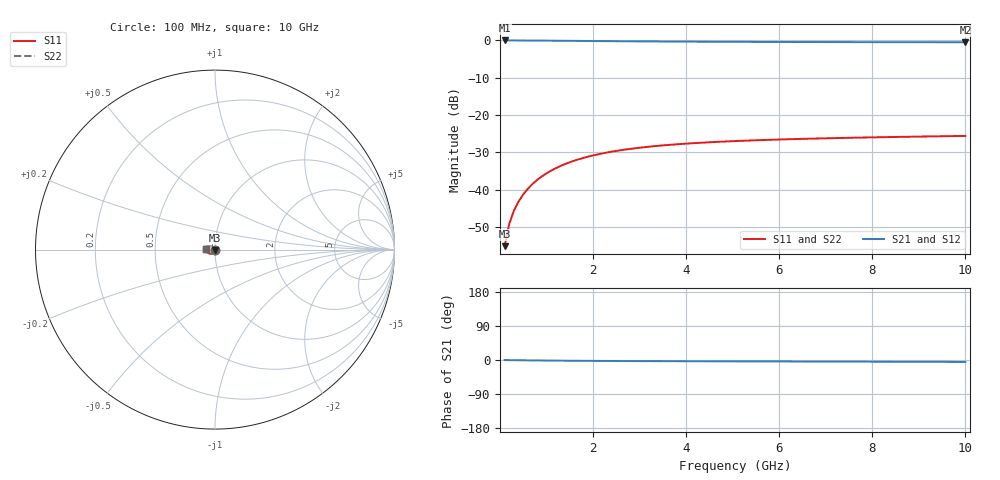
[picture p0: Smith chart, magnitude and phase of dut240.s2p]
! Touchstone file exported from HFSS 2024.1.0
!  File:  C:/UserFiles/LocalFiles/RDL_TSV_Batchsim/temp_TSV1_240_1778768307.aedt
!  Generated:  10:25:12 PM May 14, 2026
!  Design:  TSV1
!  Project:  temp_TSV1_240_1778768307
!  Setup:  Setup1
!  Solution:  Sweep
! Variables:
!  dtsv = 12.67um
!  hbump = 3um
!  htsv = 78.61um
!  lrdl = 252.1521522um
!  p = 40
!  p1 = 58.33um
!  t = 500um
!  trdl = 3um
!  wrdl = 24.89489489um
# GHz S MA R 50.000000
! Terminal data exported
! Port[1] = TSV22_T1
! Port[2] = TSV22_T2
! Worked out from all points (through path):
!   100 points, 100 MHz to 10 GHz, reference 50 ohm
!   highest |S21| = 0.00 dB at 100 MHz (marker M1); lowest = -0.5 dB at 10 GHz (marker M2)
!   lowest |S11| = -55.2 dB at 100 MHz (marker M3), VSWR 1.00, Z = 50 - j0.174 ohm
!   |S11| at or under -10 dB: start of sweep to end of sweep
!   |S22| runs from -55.2 to -25.6 dB; largest |S21 - S12| = 5.2e-15
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0.1  0.001744 -89.3  0.9998 -0.2  0.9998 -0.2  0.001744 -89.3
! Gamma 0 0 0 0
! Port Impedance 50 0 50 0
0.2  0.003482 -92.8  0.9996 -0.3  0.9996 -0.3  0.003482 -92.8
0.3  0.005213 -95.4  0.9993 -0.5  0.9993 -0.5  0.005213 -95.4
0.4  0.006929 -97.8  0.9988 -0.6  0.9988 -0.6  0.006929 -97.8
0.5  0.008621 -100.1  0.9982 -0.8  0.9982 -0.8  0.008621 -100.1
0.6  0.01028 -102.3  0.9975 -0.9  0.9975 -0.9  0.01028 -102.3
0.7  0.01191 -104.5  0.9967 -1.0  0.9967 -1.0  0.01191 -104.5
0.8  0.0135 -106.7  0.9959 -1.2  0.9959 -1.2  0.0135 -106.7
0.9  0.01504 -108.7  0.9949 -1.3  0.9949 -1.3  0.01504 -108.7
1.1  0.01798 -112.7  0.9928 -1.5  0.9928 -1.5  0.01798 -112.7
1.4  0.02202 -118.4  0.9894 -1.9  0.9894 -1.9  0.02202 -118.4
1.6  0.02445 -121.9  0.987 -2.0  0.987 -2.0  0.02445 -121.9
1.8  0.02668 -125.2  0.9846 -2.2  0.9846 -2.2  0.02668 -125.2
2.1  0.02966 -129.8  0.981 -2.4  0.981 -2.4  0.02966 -129.8
2.5  0.03303 -135.3  0.9765 -2.7  0.9765 -2.7  0.03303 -135.3
2.9  0.03581 -140.2  0.9725 -2.9  0.9725 -2.9  0.03581 -140.2
3.4  0.03865 -145.6  0.9681 -3.1  0.9681 -3.1  0.03865 -145.6
4.2  0.04209 -152.8  0.9625 -3.3  0.9625 -3.3  0.04209 -152.8
5.1  0.04488 -159.4  0.9578 -3.6  0.9578 -3.6  0.04488 -159.4
6.7  0.04825 -168.7  0.9521 -4.1  0.9521 -4.1  0.04825 -168.7
8.4  0.05069 -176.6  0.9483 -4.6  0.9483 -4.6  0.05069 -176.6
10  0.05246 177.3  0.946 -5.1  0.946 -5.1  0.05246 177.3
